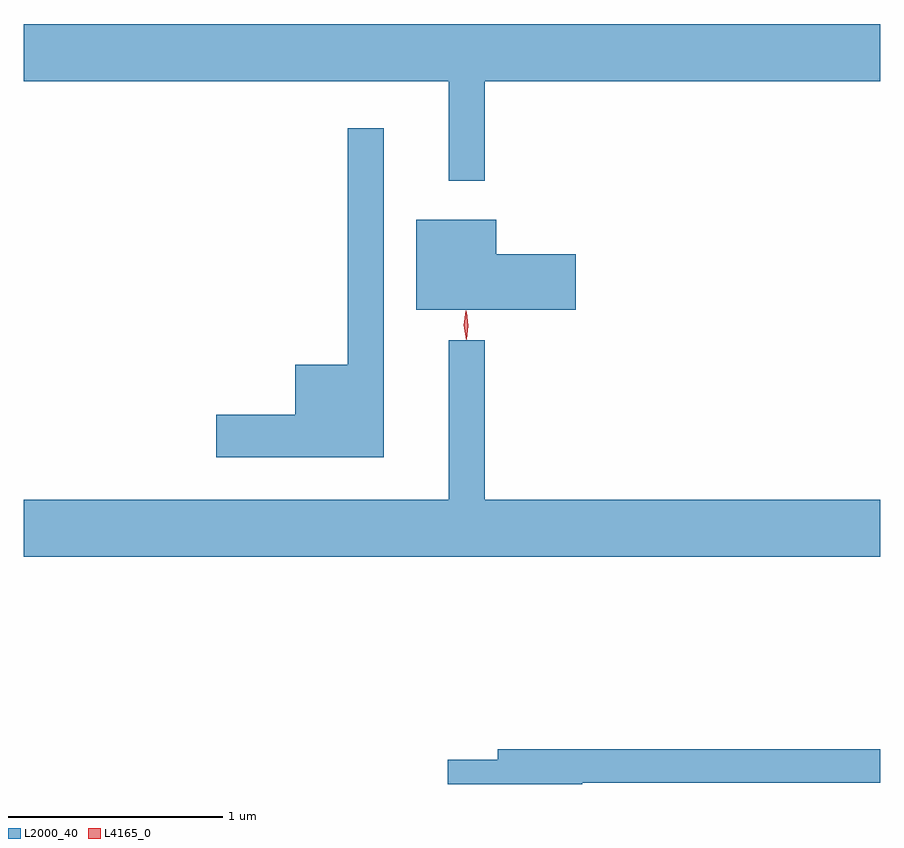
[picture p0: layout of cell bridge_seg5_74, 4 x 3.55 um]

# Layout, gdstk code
import gdstk
lib = gdstk.Library(unit=1e-6, precision=1e-09)
def P(c, l, *ps):  # polygons
    for p in ps: c.add(gdstk.Polygon(p, *l))
L2000_40 = (2000, 40)
L4165_0 = (4165, 0)

bridge_seg5_74 = lib.new_cell('bridge_seg5_74')
P(bridge_seg5_74, L2000_40, [(1179.289,1498.976),(1181.137,1498.976),(1181.137,1499.244),(1177.137,1499.244),(1177.137,1498.976),(1179.121,1498.976),(1179.121,1498.513),(1179.289,1498.513)],
  [(1178.819,1498.758),(1178.651,1498.758),(1178.651,1497.654),(1178.406,1497.654),(1178.406,1497.419),(1178.036,1497.419),(1178.036,1497.221),(1178.819,1497.221)],
  [(1179.714,1498.169),(1179.344,1498.169),(1179.344,1498.329),(1178.971,1498.329),(1178.971,1497.911),(1179.714,1497.911)],
  [(1181.137,1497.024),(1179.289,1497.024),(1179.289,1497.768),(1179.121,1497.768),(1179.121,1497.024),(1177.137,1497.024),(1177.137,1496.756),(1181.137,1496.756)],
  [(1179.744,1495.701),(1181.137,1495.701),(1181.137,1495.859),(1179.351,1495.859),(1179.351,1495.809),(1179.116,1495.809),(1179.116,1495.696),(1179.744,1495.696)])
P(bridge_seg5_74, L4165_0, [(1179.204,1497.773),(1179.204,1497.773),(1179.194,1497.836),(1179.204,1497.899),(1179.204,1497.9),(1179.205,1497.899),(1179.214,1497.836),(1179.205,1497.773)],
  [(1179.203,1497.77),(1179.203,1497.77),(1179.193,1497.838),(1179.202,1497.906),(1179.202,1497.906),(1179.203,1497.906),(1179.213,1497.838),(1179.204,1497.77)])

lib.write_gds('bridge_seg5_74.gds')
